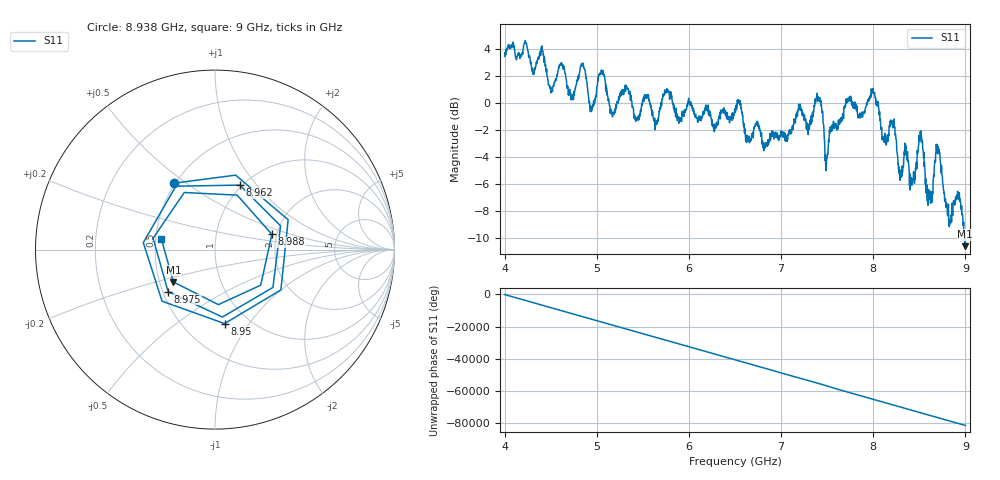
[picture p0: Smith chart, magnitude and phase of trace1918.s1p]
! Created with skrf 1.8.0 (http://scikit-rf.org).
# Hz S RI R 50.0
!freq ReS11 ImS11
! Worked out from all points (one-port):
!   1601 points, 4 GHz to 9 GHz, reference 50 ohm
!   lowest |S11| = -10.6 dB at 8.997 GHz (marker M1), VSWR 1.83, Z = 29.5 - j11.6 ohm
!   |S11| at or under -10 dB: 8.992239 GHz to end of sweep
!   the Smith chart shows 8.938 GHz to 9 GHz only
!   S11 on the Smith chart (normalised r, x): 8.938 GHz: 0.49, +0.45; 8.95 GHz: 0.78, -0.77; 8.962 GHz: 0.98, +0.82; 8.975 GHz: 0.53, -0.28; 8.988 GHz: 1.88, +0.36; 9 GHz: 0.54, +0.07
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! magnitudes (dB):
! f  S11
! 4 GHz  3.5
! 4.625 GHz  2.8
! 4.734 GHz  0.3
! 4.85 GHz  3.0
! 4.938 GHz  -0.6
! 5.044 GHz  2.3
! 5.25 GHz  0.5
! 5.875 GHz  -1.3
! 6.5 GHz  -0.5
! 6.828 GHz  -3.3
! 7.125 GHz  -1.8
! 7.406 GHz  0.4
! 7.494 GHz  -4.3
! 7.75 GHz  0.1
! 8.003 GHz  0.8
! 8.375 GHz  -4.2
! 8.425 GHz  -5.7
! 8.516 GHz  -2.1
! 8.612 GHz  -6.9
! 8.703 GHz  -3.8
! 8.825 GHz  -9.2
! 8.938 GHz  -7.2
! 8.95 GHz  -7.6
! 8.962 GHz  -8.3
! 8.975 GHz  -9.1
! 8.988 GHz  -9.7
! 8.997 GHz  -10.6
! 9 GHz  -10.4
